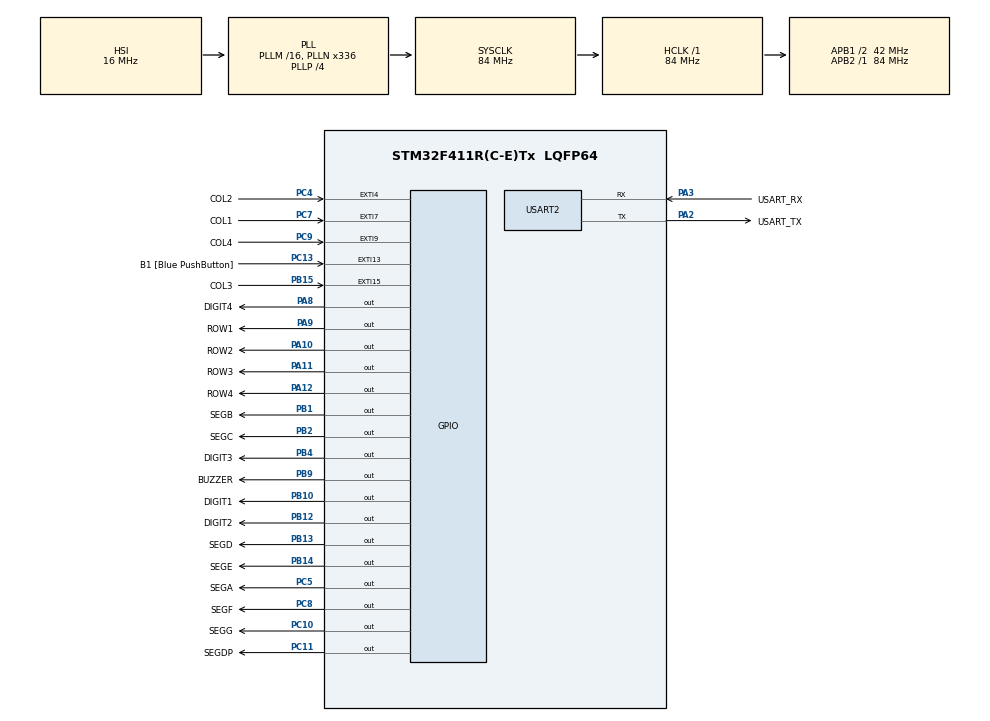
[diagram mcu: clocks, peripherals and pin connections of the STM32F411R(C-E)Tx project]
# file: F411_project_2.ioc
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Mcu.Family=STM32F4
Mcu.Name=STM32F411R(C-E)Tx
Mcu.Package=LQFP64
NVIC.EXTI15_10_IRQn=true\:0\:0\:false\:false\:true\:true\:true\:true
NVIC.EXTI4_IRQn=true\:0\:0\:false\:false\:true\:true\:true\:true
NVIC.EXTI9_5_IRQn=true\:0\:0\:false\:false\:true\:true\:true\:true
NVIC.PriorityGroup=NVIC_PRIORITYGROUP_0
NVIC.TIM3_IRQn=true\:0\:0\:false\:false\:true\:true\:true\:true
PA10.GPIO_Label=ROW2
PA10.Signal=GPIO_Output
PA11.GPIO_Label=ROW3
PA11.Signal=GPIO_Output
PA12.GPIO_Label=ROW4
PA12.Signal=GPIO_Output
PA13.GPIO_Label=TMS
PA13.Mode=Serial_Wire
PA13.Signal=SYS_JTMS-SWDIO
PA14.GPIO_Label=TCK
PA14.Mode=Serial_Wire
PA14.Signal=SYS_JTCK-SWCLK
PA2.GPIO_Label=USART_TX
PA2.Mode=Asynchronous
PA2.Signal=USART2_TX
PA3.GPIO_Label=USART_RX
PA3.Mode=Asynchronous
PA3.Signal=USART2_RX
PA8.GPIO_Label=DIGIT4
PA8.PinState=GPIO_PIN_SET
PA8.Signal=GPIO_Output
PA9.GPIO_Label=ROW1
PA9.Signal=GPIO_Output
PB1.GPIO_Label=SEGB
PB1.Signal=GPIO_Output
PB10.GPIO_Label=DIGIT1
PB10.PinState=GPIO_PIN_SET
PB10.Signal=GPIO_Output
PB12.GPIO_Label=DIGIT2
PB12.PinState=GPIO_PIN_SET
PB12.Signal=GPIO_Output
PB13.GPIO_Label=SEGD
PB13.Signal=GPIO_Output
PB14.GPIO_Label=SEGE
PB14.Signal=GPIO_Output
PB15.GPIO_Label=COL3
PB15.GPIO_ModeDefaultEXTI=GPIO_MODE_IT_FALLING
PB15.GPIO_PuPd=GPIO_PULLUP
PB15.Signal=GPXTI15
PB2.GPIO_Label=SEGC
PB2.Signal=GPIO_Output
PB3.GPIO_Label=SWO
PB3.Signal=SYS_JTDO-SWO
PB4.GPIO_Label=DIGIT3
PB4.PinState=GPIO_PIN_SET
PB4.Signal=GPIO_Output
PB9.GPIO_Label=BUZZER
PB9.PinState=GPIO_PIN_SET
PB9.Signal=GPIO_Output
PC10.GPIO_Label=SEGG
PC10.Signal=GPIO_Output
PC11.GPIO_Label=SEGDP
PC11.Signal=GPIO_Output
PC13-ANTI_TAMP.GPIO_Label=B1 [Blue PushButton]
PC13-ANTI_TAMP.GPIO_ModeDefaultEXTI=GPIO_MODE_IT_FALLING
PC13-ANTI_TAMP.Signal=GPXTI13
PC14-OSC32_IN.Mode=LSE-External-Oscillator
PC14-OSC32_IN.Signal=RCC_OSC32_IN
PC15-OSC32_OUT.Mode=LSE-External-Oscillator
PC15-OSC32_OUT.Signal=RCC_OSC32_OUT
PC4.GPIO_Label=COL2
PC4.GPIO_ModeDefaultEXTI=GPIO_MODE_IT_FALLING
PC4.GPIO_PuPd=GPIO_PULLUP
PC4.Signal=GPXTI4
PC5.GPIO_Label=SEGA
PC5.Signal=GPIO_Output
PC7.GPIO_Label=COL1
PC7.GPIO_ModeDefaultEXTI=GPIO_MODE_IT_FALLING
PC7.GPIO_PuPd=GPIO_PULLUP
PC7.Signal=GPXTI7
PC8.GPIO_Label=SEGF
PC8.Signal=GPIO_Output
PC9.GPIO_Label=COL4
PC9.GPIO_ModeDefaultEXTI=GPIO_MODE_IT_FALLING
PC9.GPIO_PuPd=GPIO_PULLUP
PC9.Signal=GPXTI9
PH0\ -\ OSC_IN.Mode=HSE-External-Clock-Source
PH0\ -\ OSC_IN.Signal=RCC_OSC_IN
PH1\ -\ OSC_OUT.Mode=HSE-External-Clock-Source
PH1\ -\ OSC_OUT.Signal=RCC_OSC_OUT
ProjectManager.HeapSize=0x200
ProjectManager.StackSize=0x400
ProjectManager.TargetToolchain=STM32CubeIDE
RCC.48MHZClocksFreq_Value=84000000
RCC.AHBFreq_Value=84000000
RCC.APB1CLKDivider=RCC_HCLK_DIV2
RCC.APB1Freq_Value=42000000
RCC.APB1TimFreq_Value=84000000
RCC.APB2Freq_Value=84000000
RCC.APB2TimFreq_Value=84000000
RCC.CortexFreq_Value=84000000
RCC.FLatency-AdvancedSettings=FLASH_LATENCY_2
RCC.HCLKFreq_Value=84000000
RCC.HSE_VALUE=8000000
RCC.HSI_VALUE=16000000
RCC.PLLN=336
RCC.PLLP=RCC_PLLP_DIV4
RCC.SYSCLKFreq_VALUE=84000000
RCC.SYSCLKSource=RCC_SYSCLKSOURCE_PLLCLK
RCC.VCOOutputFreq_Value=336000000
TIM3.Period=9
TIM3.Prescaler=8399
USART2.VirtualMode=VM_ASYNC
VP_TIM3_VS_ClockSourceINT.Mode=Internal
board=NUCLEO-F411RE

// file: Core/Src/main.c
/* USER CODE BEGIN Header */
/**
  ******************************************************************************
  * @file           : main.c
  * @brief          : Main program body
  ******************************************************************************
  * @attention
  *
  * Copyright (c) 2025 STMicroelectronics.
  * All rights reserved.
  *
  * This software is licensed under terms that can be found in the LICENSE file
  * in the root directory of this software component.
  * If no LICENSE file comes with this software, it is provided AS-IS.
  *
  ******************************************************************************
  */
/* USER CODE END Header */
#include "main.h"

/* USER CODE BEGIN Includes */
#include <stdio.h>
#include <string.h>
#include "keypad.h"
/* USER CODE END Includes */

TIM_HandleTypeDef htim3;

UART_HandleTypeDef huart2;

void SystemClock_Config(void);
static void MX_GPIO_Init(void);
static void MX_USART2_UART_Init(void);
static void MX_TIM3_Init(void);

/* USER CODE BEGIN 0 */
void test_run_info(unsigned char *data)
{
  if (data == NULL) { // NULL 포인터 방지
    return;
  }
  uint16_t len = strlen((const char*)data);
  if (len > 0) { // 빈 문자열 전송 방지
    HAL_UART_Transmit(&huart2, (uint8_t*)data, len, HAL_MAX_DELAY); // huart2는 CubeMX에서 설정된 핸들러
    HAL_UART_Transmit(&huart2, (uint8_t*)"\r\n", 2, HAL_MAX_DELAY); // 개행 문자 추가
  }
}

/* USER CODE END 0 */

int main(void)
{

  /* MCU Configuration--------------------------------------------------------*/

  /* Reset of all peripherals, Initializes the Flash interface and the Systick. */
  HAL_Init();

  /* Configure the system clock */
  SystemClock_Config();

  /* Initialize all configured peripherals */
  MX_GPIO_Init();
  MX_USART2_UART_Init();
  MX_TIM3_Init();
  /* USER CODE BEGIN 2 */
  SEG_CLEAR();
  DIG_OFF_ALL();   // CC: OFF 상태
  keypad();
  HAL_TIM_Base_Start_IT(&htim3);
  /* USER CODE END 2 */

  /* Infinite loop */
  /* USER CODE BEGIN WHILE */
  while (1)
  {
	    keypad_task();   // 키 이벤트 처리 (버퍼 갱신/판정)
	    buzzer_task();   // 버저 패턴
	    blink_task();    // 디스플레이 깜빡임
    /* USER CODE END WHILE */

  }
}

void SystemClock_Config(void)
{
  RCC_OscInitTypeDef RCC_OscInitStruct = {0};
  RCC_ClkInitTypeDef RCC_ClkInitStruct = {0};

  /** Configure the main internal regulator output voltage
  */
  __HAL_RCC_PWR_CLK_ENABLE();
  __HAL_PWR_VOLTAGESCALING_CONFIG(PWR_REGULATOR_VOLTAGE_SCALE1);

  /** Initializes the RCC Oscillators according to the specified parameters
  * in the RCC_OscInitTypeDef structure.
  */
  RCC_OscInitStruct.OscillatorType = RCC_OSCILLATORTYPE_HSI;
  RCC_OscInitStruct.HSIState = RCC_HSI_ON;
  RCC_OscInitStruct.HSICalibrationValue = RCC_HSICALIBRATION_DEFAULT;
  RCC_OscInitStruct.PLL.PLLState = RCC_PLL_ON;
  RCC_OscInitStruct.PLL.PLLSource = RCC_PLLSOURCE_HSI;
  RCC_OscInitStruct.PLL.PLLM = 16;
  RCC_OscInitStruct.PLL.PLLN = 336;
  RCC_OscInitStruct.PLL.PLLP = RCC_PLLP_DIV4;
  RCC_OscInitStruct.PLL.PLLQ = 4;
  if (HAL_RCC_OscConfig(&RCC_OscInitStruct) != HAL_OK)
  {
    Error_Handler();
  }

  /** Initializes the CPU, AHB and APB buses clocks
  */
  RCC_ClkInitStruct.ClockType = RCC_CLOCKTYPE_HCLK|RCC_CLOCKTYPE_SYSCLK
                              |RCC_CLOCKTYPE_PCLK1|RCC_CLOCKTYPE_PCLK2;
  RCC_ClkInitStruct.SYSCLKSource = RCC_SYSCLKSOURCE_PLLCLK;
  RCC_ClkInitStruct.AHBCLKDivider = RCC_SYSCLK_DIV1;
  RCC_ClkInitStruct.APB1CLKDivider = RCC_HCLK_DIV2;
  RCC_ClkInitStruct.APB2CLKDivider = RCC_HCLK_DIV1;

  if (HAL_RCC_ClockConfig(&RCC_ClkInitStruct, FLASH_LATENCY_2) != HAL_OK)
  {
    Error_Handler();
  }
}

static void MX_TIM3_Init(void)
{

  TIM_ClockConfigTypeDef sClockSourceConfig = {0};
  TIM_MasterConfigTypeDef sMasterConfig = {0};

  htim3.Instance = TIM3;
  htim3.Init.Prescaler = 8399;
  htim3.Init.CounterMode = TIM_COUNTERMODE_UP;
  htim3.Init.Period = 9;
  htim3.Init.ClockDivision = TIM_CLOCKDIVISION_DIV1;
  htim3.Init.AutoReloadPreload = TIM_AUTORELOAD_PRELOAD_DISABLE;
  if (HAL_TIM_Base_Init(&htim3) != HAL_OK)
  {
    Error_Handler();
  }
  sClockSourceConfig.ClockSource = TIM_CLOCKSOURCE_INTERNAL;
  if (HAL_TIM_ConfigClockSource(&htim3, &sClockSourceConfig) != HAL_OK)
  {
    Error_Handler();
  }
  sMasterConfig.MasterOutputTrigger = TIM_TRGO_RESET;
  sMasterConfig.MasterSlaveMode = TIM_MASTERSLAVEMODE_DISABLE;
  if (HAL_TIMEx_MasterConfigSynchronization(&htim3, &sMasterConfig) != HAL_OK)
  {
    Error_Handler();
  }

}

static void MX_USART2_UART_Init(void)
{

  huart2.Instance = USART2;
  huart2.Init.BaudRate = 115200;
  huart2.Init.WordLength = UART_WORDLENGTH_8B;
  huart2.Init.StopBits = UART_STOPBITS_1;
  huart2.Init.Parity = UART_PARITY_NONE;
  huart2.Init.Mode = UART_MODE_TX_RX;
  huart2.Init.HwFlowCtl = UART_HWCONTROL_NONE;
  huart2.Init.OverSampling = UART_OVERSAMPLING_16;
  if (HAL_UART_Init(&huart2) != HAL_OK)
  {
    Error_Handler();
  }

}

static void MX_GPIO_Init(void)
{
  GPIO_InitTypeDef GPIO_InitStruct = {0};

  /* GPIO Ports Clock Enable */
  __HAL_RCC_GPIOC_CLK_ENABLE();
  __HAL_RCC_GPIOH_CLK_ENABLE();
  __HAL_RCC_GPIOA_CLK_ENABLE();
  __HAL_RCC_GPIOB_CLK_ENABLE();

  /*Configure GPIO pin Output Level */
  HAL_GPIO_WritePin(GPIOC, SEGA_Pin|SEGF_Pin|SEGG_Pin|SEGDP_Pin, GPIO_PIN_RESET);

  /*Configure GPIO pin Output Level */
  HAL_GPIO_WritePin(GPIOB, SEGB_Pin|SEGC_Pin|SEGD_Pin|SEGE_Pin, GPIO_PIN_RESET);

  /*Configure GPIO pin Output Level */
  HAL_GPIO_WritePin(GPIOB, DIGIT1_Pin|DIGIT2_Pin|DIGIT3_Pin|BUZZER_Pin, GPIO_PIN_SET);

  /*Configure GPIO pin Output Level */
  HAL_GPIO_WritePin(DIGIT4_GPIO_Port, DIGIT4_Pin, GPIO_PIN_SET);

  /*Configure GPIO pin Output Level */
  HAL_GPIO_WritePin(GPIOA, ROW1_Pin|ROW2_Pin|ROW3_Pin|ROW4_Pin, GPIO_PIN_RESET);

  /*Configure GPIO pin : B1_Pin */
  GPIO_InitStruct.Pin = B1_Pin;
  GPIO_InitStruct.Mode = GPIO_MODE_IT_FALLING;
  GPIO_InitStruct.Pull = GPIO_NOPULL;
  HAL_GPIO_Init(B1_GPIO_Port, &GPIO_InitStruct);

  /*Configure GPIO pins : COL2_Pin COL1_Pin COL4_Pin */
  GPIO_InitStruct.Pin = COL2_Pin|COL1_Pin|COL4_Pin;
  GPIO_InitStruct.Mode = GPIO_MODE_IT_FALLING;
  GPIO_InitStruct.Pull = GPIO_PULLUP;
  HAL_GPIO_Init(GPIOC, &GPIO_InitStruct);

  /*Configure GPIO pins : SEGA_Pin SEGF_Pin SEGG_Pin SEGDP_Pin */
  GPIO_InitStruct.Pin = SEGA_Pin|SEGF_Pin|SEGG_Pin|SEGDP_Pin;
  GPIO_InitStruct.Mode = GPIO_MODE_OUTPUT_PP;
  GPIO_InitStruct.Pull = GPIO_NOPULL;
  GPIO_InitStruct.Speed = GPIO_SPEED_FREQ_LOW;
  HAL_GPIO_Init(GPIOC, &GPIO_InitStruct);

  /*Configure GPIO pins : SEGB_Pin SEGC_Pin DIGIT1_Pin DIGIT2_Pin
                           SEGD_Pin SEGE_Pin DIGIT3_Pin BUZZER_Pin */
  GPIO_InitStruct.Pin = SEGB_Pin|SEGC_Pin|DIGIT1_Pin|DIGIT2_Pin
                          |SEGD_Pin|SEGE_Pin|DIGIT3_Pin|BUZZER_Pin;
  GPIO_InitStruct.Mode = GPIO_MODE_OUTPUT_PP;
  GPIO_InitStruct.Pull = GPIO_NOPULL;
  GPIO_InitStruct.Speed = GPIO_SPEED_FREQ_LOW;
  HAL_GPIO_Init(GPIOB, &GPIO_InitStruct);

  /*Configure GPIO pin : COL3_Pin */
  GPIO_InitStruct.Pin = COL3_Pin;
  GPIO_InitStruct.Mode = GPIO_MODE_IT_FALLING;
  GPIO_InitStruct.Pull = GPIO_PULLUP;
  HAL_GPIO_Init(COL3_GPIO_Port, &GPIO_InitStruct);

  /*Configure GPIO pins : DIGIT4_Pin ROW1_Pin ROW2_Pin ROW3_Pin
                           ROW4_Pin */
  GPIO_InitStruct.Pin = DIGIT4_Pin|ROW1_Pin|ROW2_Pin|ROW3_Pin
                          |ROW4_Pin;
  GPIO_InitStruct.Mode = GPIO_MODE_OUTPUT_PP;
  GPIO_InitStruct.Pull = GPIO_NOPULL;
  GPIO_InitStruct.Speed = GPIO_SPEED_FREQ_LOW;
  HAL_GPIO_Init(GPIOA, &GPIO_InitStruct);

  /* EXTI interrupt init*/
  HAL_NVIC_SetPriority(EXTI4_IRQn, 0, 0);
  HAL_NVIC_EnableIRQ(EXTI4_IRQn);

  HAL_NVIC_SetPriority(EXTI9_5_IRQn, 0, 0);
  HAL_NVIC_EnableIRQ(EXTI9_5_IRQn);

  HAL_NVIC_SetPriority(EXTI15_10_IRQn, 0, 0);
  HAL_NVIC_EnableIRQ(EXTI15_10_IRQn);

}

void Error_Handler(void)
{
  __disable_irq();
  while (1)
  {
  }
}
